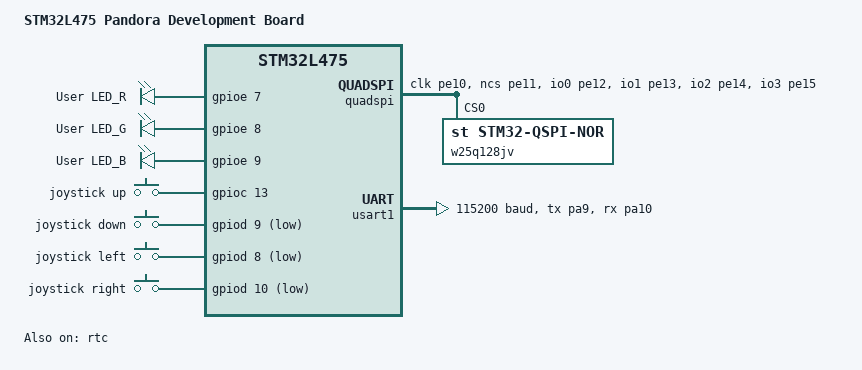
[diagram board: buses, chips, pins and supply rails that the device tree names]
/*
 * Copyright (c) 2017 TsMax
 *
 * Based on stm32l475_pandora:
 *
 * Copyright (c) 2017 Tisilicon Limited
 *
 * SPDX-License-Identifier: Apache-2.0
 */

/dts-v1/;
#include <st/l4/stm32l475Xe.dtsi>
#include <st/l4/stm32l475v(c-e-g)tx-pinctrl.dtsi>
#include <zephyr/dt-bindings/input/input-event-codes.h>

/ {
	model = "STM32L475 Pandora Development Board";
	compatible = "alientek,pandora_stm32l475";

	aliases {
		led0 = &red_led;
		sw0 = &joy_up;
	};

	chosen {
		zephyr,console = &usart1;
		zephyr,shell-uart = &usart1;
		zephyr,sram = &sram0;
		zephyr,flash = &flash0;
	};

	leds {
		compatible = "gpio-leds";

		red_led: led_0 {
			gpios = <&gpioe 7 GPIO_ACTIVE_HIGH>;
			label = "User LED_R";
		};

		green_led: led_1 {
			gpios = <&gpioe 8 GPIO_ACTIVE_HIGH>;
			label = "User LED_G";
		};

		blue_led: led_2 {
			gpios = <&gpioe 9 GPIO_ACTIVE_HIGH>;
			label = "User LED_B";
		};
	};

	gpio_keys {
		compatible = "gpio-keys";

		joy_up: joystick_up {
			label = "joystick up";
			gpios = <&gpioc 13 (GPIO_ACTIVE_HIGH | GPIO_PULL_DOWN)>;
			zephyr,code = <INPUT_KEY_UP>;
		};

		joy_down: joystick_down {
			label = "joystick down";
			gpios = <&gpiod 9 (GPIO_ACTIVE_LOW | GPIO_PULL_UP)>;
			zephyr,code = <INPUT_KEY_DOWN>;
		};

		joy_left: joystick_left {
			label = "joystick left";
			gpios = <&gpiod 8 (GPIO_ACTIVE_LOW | GPIO_PULL_UP)>;
			zephyr,code = <INPUT_KEY_LEFT>;
		};

		joy_right: joystick_right {
			label = "joystick right";
			gpios = <&gpiod 10 (GPIO_ACTIVE_LOW | GPIO_PULL_UP)>;
			zephyr,code = <INPUT_KEY_RIGHT>;
		};
	};
};

&quadspi {
	pinctrl-0 = <&quadspi_clk_pe10 &quadspi_ncs_pe11
		     &quadspi_bk1_io0_pe12 &quadspi_bk1_io1_pe13
		     &quadspi_bk1_io2_pe14 &quadspi_bk1_io3_pe15>;
	pinctrl-names = "default";
	status = "okay";

	w25q128jv: qspi-nor-flash@0 {
		compatible = "st,stm32-qspi-nor";
		reg = <0>;
		size = <DT_SIZE_M(128)>; /* 128 Mbits */
		qspi-max-frequency = <80000000>;
		cs-high-time = <4>; /* >= 50 ns */
		jedec-id = [ef 40 18];
		spi-bus-width = <4>;
		writeoc = "PP_1_1_4";
		status = "okay";
	};
};

&clk_lsi {
	status = "okay";
};

&clk_hsi {
	status = "okay";
};

&pll {
	div-m = <1>;
	mul-n = <20>;
	div-p = <7>;
	div-q = <2>;
	div-r = <4>;
	clocks = <&clk_hsi>;
	status = "okay";
};

&rcc {
	clocks = <&pll>;
	clock-frequency = <DT_FREQ_M(80)>;
	ahb-prescaler = <1>;
	apb1-prescaler = <1>;
	apb2-prescaler = <1>;
};

&usart1 {
	pinctrl-0 = <&usart1_tx_pa9 &usart1_rx_pa10>;
	pinctrl-names = "default";
	current-speed = <115200>;
	status = "okay";
};

&rtc {
	clocks = <&rcc STM32_CLOCK(APB1, 28)>,
		 <&rcc STM32_SRC_LSI RTC_SEL(2)>;
	status = "okay";

	backup_regs {
		status = "okay";
	};
};
